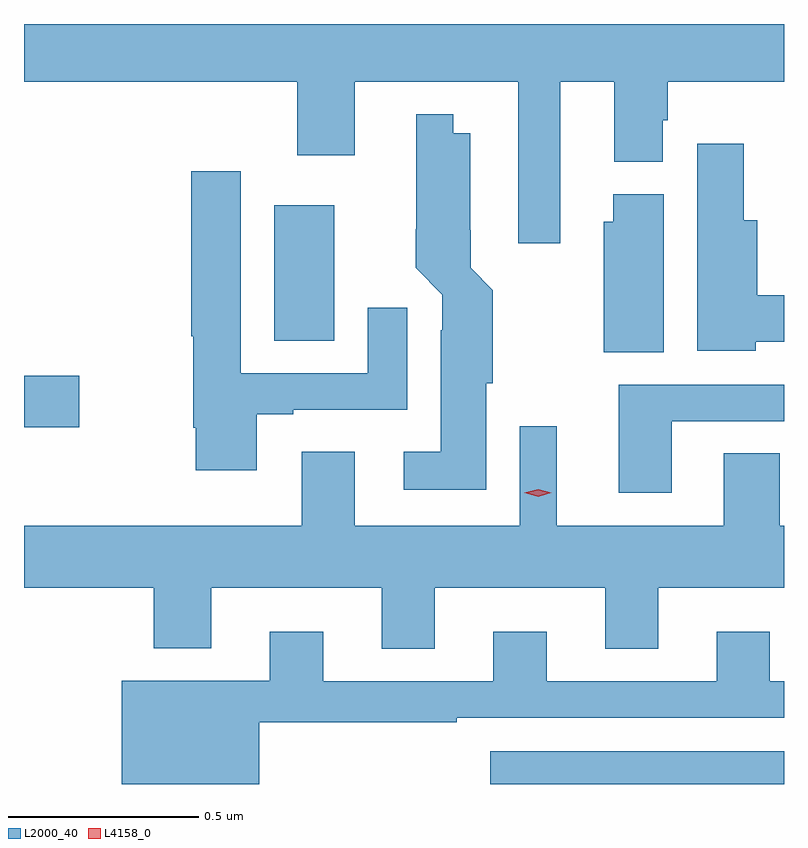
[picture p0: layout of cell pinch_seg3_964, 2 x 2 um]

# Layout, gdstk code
import gdstk
lib = gdstk.Library(unit=1e-6, precision=1e-09)
def R(c, l, rs):  # rectangles x0, y0, x1, y1
    for r in rs: c.add(gdstk.rectangle(r[:2], r[2:], *l))
def P(c, l, *ps):  # polygons
    for p in ps: c.add(gdstk.Polygon(p, *l))
L2000_40 = (2000, 40)
L4158_0 = (4158, 0)

pinch_seg3_964 = lib.new_cell('pinch_seg3_964')
R(pinch_seg3_964, L2000_40, [(622.137,707.06,622.91,707.146), (620.91,707.999,621.055,708.134), (621.569,708.226,621.727,708.583)])
P(pinch_seg3_964, L2000_40, [(622.321,708.908),(622.463,708.908),(622.463,708.697),(622.591,708.697),(622.591,708.807),(622.604,708.807),(622.604,708.908),(622.91,708.908),(622.91,709.06),(620.91,709.06),(620.91,708.908),(621.629,708.908),(621.629,708.714),(621.781,708.714),(621.781,708.908),(622.211,708.908),(622.211,708.483),(622.321,708.483)],
  [(622.126,708.114),(622.144,708.114),(622.144,708.359),(622.085,708.418),(622.085,708.517),(622.084,708.517),(622.084,708.772),(622.039,708.772),(622.039,708.823),(621.942,708.823),(621.942,708.52),(621.941,708.52),(621.941,708.418),(622.011,708.348),(622.011,708.254),(622.007,708.254),(622.007,707.935),(621.909,707.935),(621.909,707.834),(622.126,707.834)],
  [(622.836,708.224),(622.91,708.224),(622.91,708.346),(622.84,708.346),(622.84,708.544),(622.804,708.544),(622.804,708.745),(622.682,708.745),(622.682,708.2),(622.836,708.2)],
  [(621.523,708.033),(621.619,708.033),(621.619,708.045),(621.919,708.045),(621.919,708.313),(621.815,708.313),(621.815,708.141),(621.481,708.141),(621.481,708.673),(621.35,708.673),(621.35,708.238),(621.355,708.238),(621.355,707.998),(621.362,707.998),(621.362,707.886),(621.523,707.886)],
  [(622.594,708.612),(622.46,708.612),(622.46,708.54),(622.436,708.54),(622.436,708.196),(622.594,708.196)],
  [(622.615,708.015),(622.91,708.015),(622.91,708.111),(622.475,708.111),(622.475,707.826),(622.615,707.826)],
  [(621.991,707.576),(622.439,707.576),(622.439,707.416),(622.579,707.416),(622.579,707.576),(622.91,707.576),(622.91,707.74),(622.899,707.74),(622.899,707.93),(622.751,707.93),(622.751,707.74),(622.312,707.74),(622.312,708.001),(622.215,708.001),(622.215,707.74),(621.781,707.74),(621.781,707.935),(621.641,707.935),(621.641,707.74),(620.91,707.74),(620.91,707.576),(621.251,707.576),(621.251,707.417),(621.403,707.417),(621.403,707.576),(621.851,707.576),(621.851,707.416),(621.991,707.416)],
  [(621.529,707.223),(622.049,707.223),(622.049,707.235),(622.91,707.235),(622.91,707.331),(622.873,707.331),(622.873,707.461),(622.733,707.461),(622.733,707.331),(622.285,707.331),(622.285,707.461),(622.145,707.461),(622.145,707.331),(621.697,707.331),(621.697,707.461),(621.557,707.461),(621.557,707.332),(621.167,707.332),(621.167,707.06),(621.529,707.06)])
P(pinch_seg3_964, L4158_0, [(622.263,707.816),(622.227,707.826),(622.227,707.826),(622.227,707.826),(622.263,707.836),(622.298,707.826),(622.298,707.826),(622.298,707.826)])

lib.write_gds('pinch_seg3_964.gds')
